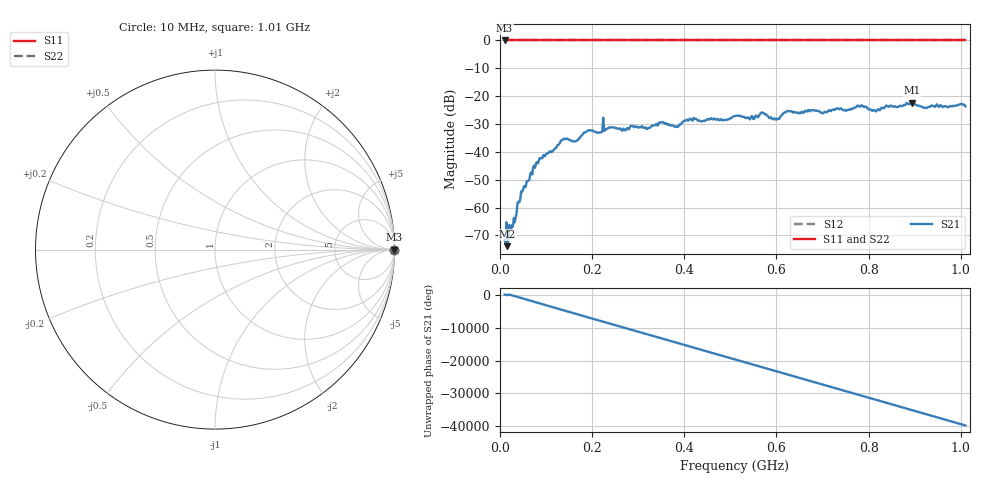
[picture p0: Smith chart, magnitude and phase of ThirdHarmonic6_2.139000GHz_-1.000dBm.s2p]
! 8/17/2025 1:33:21 AM
! C:\ANRITSUVNA\TEMP\TEMP.S2P
! CHANNEL.1
! TR.MEASUREMENT
! RAW.DATA
! RF.CORRECTION.OFF
! AVERAGING.OFF
! IF.BANDWIDTH: 5KHZ
! SWEEPTYPE:  FREQ.SWEEP(Linear)
! Reference Plane Port Info
! PORT:  PORT1  PORT2
! DISTANCE:  0  m  0  m
! TIME:  0  s  0  s
! PHASE.OFFSET:  0  deg.  0  deg.
! LOSS:  0  dB  0  dB
! REF.LOSS:  0  dB  0  dB
! REF.FREQ:  0  Hz  0  Hz
! Power Info
! POWER:  -20  dBm  -20  dBm
! EFF.POWER:  -20  dBm  -20  dBm
! SOURCE.ATTEN:  0  dB  0  dB
! TEST.ATTEN:  0  dB  0  dB
# GHZ S RI R 50.0
! FREQ.GHZ  S11RE  S11IM  S21RE  S21IM  S12RE  S12IM  S22RE  S22IM
!; PortSelection: Port_12
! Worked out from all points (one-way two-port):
!   501 points, 10 MHz to 1.01 GHz, reference 50 ohm
!   highest |S21| = -22.30 dB at 894 MHz (marker M1); lowest = -73.9 dB at 16 MHz (marker M2)
!   lowest |S11| = 0.0 dB at 10 MHz (marker M3)
!   |S11| at or under -10 dB: nowhere
!   |S22| runs from 0.0 to 0.0 dB; largest |S21 - S12| = 1.1
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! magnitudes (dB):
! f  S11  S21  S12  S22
! 10 MHz  0.0  -71.8  0.0  0.0
! 16 MHz  0.0  -73.9  0.0  0.0
! 32 MHz  0.0  -65.3  0.0  0.0
! 50 MHz  0.0  -53.7  0.0  0.0
! 76 MHz  0.0  -45.7  0.0  0.0
! 136 MHz  0.0  -35.7  0.0  0.0
! 162 MHz  0.0  -36.3  0.0  0.0
! 178 MHz  0.0  -34.0  0.0  0.0
! 228 MHz  0.0  -32.3  0.0  0.0
! 268 MHz  0.0  -31.6  0.0  0.0
! 344 MHz  0.0  -29.8  0.0  0.0
! 382 MHz  0.0  -30.9  0.0  0.0
! 408 MHz  0.0  -28.8  0.0  0.0
! 510 MHz  0.0  -27.1  0.0  0.0
! 570 MHz  0.0  -25.8  0.0  0.0
! 602 MHz  0.0  -28.0  0.0  0.0
! 622 MHz  0.0  -25.5  0.0  0.0
! 678 MHz  0.0  -25.0  0.0  0.0
! 844 MHz  0.0  -23.8  0.0  0.0
! 894 MHz  0.0  -22.3  0.0  0.0
! 922 MHz  0.0  -24.2  0.0  0.0
! 1.01 GHz  0.0  -23.6  0.0  0.0
